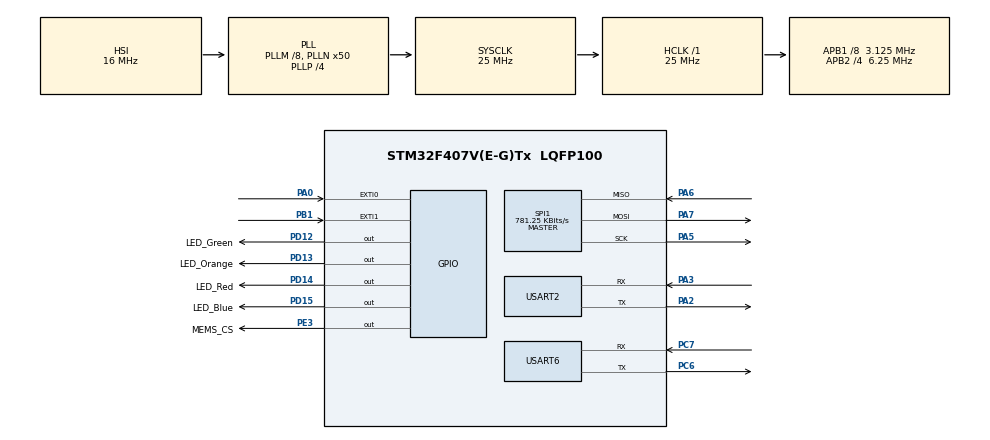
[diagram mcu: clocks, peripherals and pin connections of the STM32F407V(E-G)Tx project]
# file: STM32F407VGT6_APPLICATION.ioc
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FREERTOS.Mutexes01=uartMutex,Dynamic,NULL
FREERTOS.Queues01=accelDataQueue,4,uint16_t,0,Dynamic,NULL,NULL
FREERTOS.Tasks01=accelTask,24,240,AccelReadThread,Default,NULL,Dynamic,NULL,NULL;sendTask,24,240,TransmitUartThread,Default,NULL,Dynamic,NULL,NULL;updateTask,40,240,UpdateHandleThread,Default,NULL,Dynamic,NULL,NULL;checkUpdate,24,128,CheckUpdateThread,Default,NULL,Dynamic,NULL,NULL
Mcu.Family=STM32F4
Mcu.Name=STM32F407V(E-G)Tx
Mcu.Package=LQFP100
NVIC.EXTI0_IRQn=true\:5\:0\:false\:false\:true\:true\:true\:true
NVIC.EXTI1_IRQn=true\:5\:0\:false\:false\:true\:true\:true\:true
NVIC.PriorityGroup=NVIC_PRIORITYGROUP_4
NVIC.TIM5_IRQn=true\:0\:0\:false\:false\:true\:false\:false\:true
NVIC.TimeBase=TIM5_IRQn
NVIC.TimeBaseIP=TIM5
PA0-WKUP.Signal=GPXTI0
PA2.Mode=Asynchronous
PA2.Signal=USART2_TX
PA3.Mode=Asynchronous
PA3.Signal=USART2_RX
PA5.Mode=Full_Duplex_Master
PA5.Signal=SPI1_SCK
PA6.Mode=Full_Duplex_Master
PA6.Signal=SPI1_MISO
PA7.Mode=Full_Duplex_Master
PA7.Signal=SPI1_MOSI
PB1.GPIO_PuPd=GPIO_PULLDOWN
PB1.Signal=GPXTI1
PC6.Mode=Asynchronous
PC6.Signal=USART6_TX
PC7.Mode=Asynchronous
PC7.Signal=USART6_RX
PD12.GPIO_Label=LED_Green
PD12.Signal=GPIO_Output
PD13.GPIO_Label=LED_Orange
PD13.Signal=GPIO_Output
PD14.GPIO_Label=LED_Red
PD14.Signal=GPIO_Output
PD15.GPIO_Label=LED_Blue
PD15.Signal=GPIO_Output
PE3.GPIO_Label=MEMS_CS
PE3.GPIO_PuPd=GPIO_PULLUP
PE3.PinState=GPIO_PIN_SET
PE3.Signal=GPIO_Output
ProjectManager.HeapSize=0x200
ProjectManager.StackSize=0x400
ProjectManager.TargetToolchain=MDK-ARM V5
RCC.48MHZClocksFreq_Value=14285714.285714285
RCC.AHBFreq_Value=25000000
RCC.APB1CLKDivider=RCC_HCLK_DIV8
RCC.APB1Freq_Value=3125000
RCC.APB1TimFreq_Value=6250000
RCC.APB2CLKDivider=RCC_HCLK_DIV4
RCC.APB2Freq_Value=6250000
RCC.APB2TimFreq_Value=12500000
RCC.CortexFreq_Value=25000000
RCC.HCLKFreq_Value=25000000
RCC.HSE_VALUE=8000000
RCC.HSI_VALUE=16000000
RCC.LSE_VALUE=32768
RCC.PLLM=8
RCC.PLLN=50
RCC.PLLP=RCC_PLLP_DIV4
RCC.PLLQ=7
RCC.SYSCLKFreq_VALUE=25000000
RCC.SYSCLKSource=RCC_SYSCLKSOURCE_PLLCLK
RCC.VCOOutputFreq_Value=100000000
SPI1.BaudRatePrescaler=SPI_BAUDRATEPRESCALER_8
SPI1.CalculateBaudRate=781.25 KBits/s
SPI1.Direction=SPI_DIRECTION_2LINES
SPI1.Mode=SPI_MODE_MASTER
SPI1.VirtualType=VM_MASTER
USART2.VirtualMode=VM_ASYNC
USART6.VirtualMode=VM_ASYNC
VP_FREERTOS_VS_CMSIS_V2.Mode=CMSIS_V2
VP_SYS_VS_tim5.Mode=TIM5
board=STM32F407G-DISC1

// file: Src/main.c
/* USER CODE BEGIN Header */
/**
  ******************************************************************************
  * @file           : main.c
  * @brief          : Main program body
  ******************************************************************************
  * @attention
  *
  * <h2><center>&copy; Copyright (c) 2019 STMicroelectronics.
  * All rights reserved.</center></h2>
  *
  * This software component is licensed by ST under Ultimate Liberty license
  * SLA0044, the "License"; You may not use this file except in compliance with
  * the License. You may obtain a copy of the License at:
  *                             www.st.com/SLA0044
  *
  ******************************************************************************
  */
/* USER CODE END Header */

#include "main.h"
#include "cmsis_os.h"

/* USER CODE BEGIN Includes */
#include <string.h>
#include <stdlib.h>
#include <stdio.h>
#include <stdarg.h>
/* USER CODE END Includes */

/* USER CODE BEGIN PD */
#define BL_DEBEG_MSG_EN			// For Debugging
#define C_UART		&huart2
#define D_UART		&huart6
/* USER CODE END PD */

SPI_HandleTypeDef hspi1;

UART_HandleTypeDef huart2;
UART_HandleTypeDef huart6;

osThreadId_t accelTaskHandle;
osThreadId_t sendTaskHandle;
osThreadId_t updateTaskHandle;
//osThreadId_t checkUpdateHandle;
osMessageQueueId_t accelDataQueueHandle;
osMutexId_t uartMutexHandle;
/* USER CODE BEGIN PV */

#ifdef STM32F407VGT6
uint8_t spiTxBuf[2];		// SPI Transmit Buffer
uint8_t spiRxBuf[2];		// SPI Receive Buffer
uint8_t reg;						// register of Accelerometer
AccelDataTypeDef myAccelData;
AccelScaledDataTypeDef myAccelScaledData;
#endif

char uartTxBuf[32];
osEventFlagsId_t evt_id;
uint32_t flags;
osStatus_t status;

//----------------------------------------------------
SignatureTypeDef signature_sector;
uint8_t	rx_buffer[MAX_RX_BUFFER] = {0};
//----------------------------------------------------

/* USER CODE END PV */

void SystemClock_Config(void);
static void MX_GPIO_Init(void);
static void MX_SPI1_Init(void);
static void MX_USART2_UART_Init(void);
static void MX_USART6_UART_Init(void);
void AccelReadThread(void *argument);
void TransmitUartThread(void *argument);
void UpdateHandleThread(void *argument);
//void CheckUpdateThread(void *argument);

/* USER CODE BEGIN PFP */
static void print_debug_msg(char *format,...);
/* USER CODE END PFP */

int main(void)
{

  /* MCU Configuration--------------------------------------------------------*/

  /* Reset of all peripherals, Initializes the Flash interface and the Systick. */
  HAL_Init();

  /* Configure the system clock */
  SystemClock_Config();

  /* Initialize all configured peripherals */
  MX_GPIO_Init();
  MX_SPI1_Init();
  MX_USART2_UART_Init();
  MX_USART6_UART_Init();

  /* USER CODE BEGIN 2 */
	#ifdef STM32F407VGT6
	accel_init(&hspi1);	// initializing Accelerometer
	#endif
  /* USER CODE END 2 */

  osKernelInitialize();

  /* Create the mutex(es) */
  /* definition and creation of uartMutex */
  const osMutexAttr_t uartMutex_attributes = {
    .name = "uartMutex"
  };
  uartMutexHandle = osMutexNew(&uartMutex_attributes);

  /* Create the queue(s) */
  /* definition and creation of accelDataQueue */
  const osMessageQueueAttr_t accelDataQueue_attributes = {
    .name = "accelDataQueue"
  };
  accelDataQueueHandle = osMessageQueueNew (4, sizeof(MessageQueue_st), &accelDataQueue_attributes);

  /* Create the thread(s) */
  /* definition and creation of accelTask */
  const osThreadAttr_t accelTask_attributes = {
    .name = "accelTask",
    .priority = (osPriority_t) osPriorityNormal,
    .stack_size = 480
  };
  accelTaskHandle = osThreadNew(AccelReadThread, NULL, &accelTask_attributes);

  /* definition and creation of sendTask */
  const osThreadAttr_t sendTask_attributes = {
    .name = "sendTask",
    .priority = (osPriority_t) osPriorityNormal,
    .stack_size = 240
  };
  sendTaskHandle = osThreadNew(TransmitUartThread, NULL, &sendTask_attributes);

  /* definition and creation of updateTask */
  const osThreadAttr_t updateTask_attributes = {
    .name = "updateTask",
    .priority = (osPriority_t) osPriorityHigh,
    .stack_size = 480
  };
  updateTaskHandle = osThreadNew(UpdateHandleThread, NULL, &updateTask_attributes);

  /* definition and creation of checkUpdate */
 /* ------ Not Needed Now
	const osThreadAttr_t checkUpdate_attributes = {
    .name = "checkUpdate",
    .priority = (osPriority_t) osPriorityNormal,
    .stack_size = 128
  };
  checkUpdateHandle = osThreadNew(CheckUpdateThread, NULL, &checkUpdate_attributes);*/

  /* USER CODE BEGIN RTOS_THREADS */
  /* add threads, ... */

	//  creates a new event flags object that is used to
	//	send events across thread
	//	It can be safely called before the RTOS is started
	//	(call to osKernelStart), but not before it is initialized
	//	(call to osKernelInitialize).
	evt_id = osEventFlagsNew(NULL);
	  if (evt_id == NULL) {
    ; // Event Flags object not created, handle failure
    while(1);
  }
	osEventFlagsClear(evt_id, FLAGS_MSK);

  /* USER CODE END RTOS_THREADS */

  /* Start scheduler */
  osKernelStart();

  /* We should never get here as control is now taken by the scheduler */

  /* Infinite loop */
  while (1)
  {

  }
}

void SystemClock_Config(void)
{
  RCC_OscInitTypeDef RCC_OscInitStruct = {0};
  RCC_ClkInitTypeDef RCC_ClkInitStruct = {0};

  /** Configure the main internal regulator output voltage
  */
  __HAL_RCC_PWR_CLK_ENABLE();
  __HAL_PWR_VOLTAGESCALING_CONFIG(PWR_REGULATOR_VOLTAGE_SCALE1);
  /** Initializes the CPU, AHB and APB busses clocks
  */
  RCC_OscInitStruct.OscillatorType = RCC_OSCILLATORTYPE_HSI;
  RCC_OscInitStruct.HSIState = RCC_HSI_ON;
  RCC_OscInitStruct.HSICalibrationValue = RCC_HSICALIBRATION_DEFAULT;
  RCC_OscInitStruct.PLL.PLLState = RCC_PLL_ON;
  RCC_OscInitStruct.PLL.PLLSource = RCC_PLLSOURCE_HSI;
  RCC_OscInitStruct.PLL.PLLM = 8;
  RCC_OscInitStruct.PLL.PLLN = 50;
  RCC_OscInitStruct.PLL.PLLP = RCC_PLLP_DIV4;
  RCC_OscInitStruct.PLL.PLLQ = 7;
  if (HAL_RCC_OscConfig(&RCC_OscInitStruct) != HAL_OK)
  {
    Error_Handler();
  }
  /** Initializes the CPU, AHB and APB busses clocks
  */
  RCC_ClkInitStruct.ClockType = RCC_CLOCKTYPE_HCLK|RCC_CLOCKTYPE_SYSCLK
                              |RCC_CLOCKTYPE_PCLK1|RCC_CLOCKTYPE_PCLK2;
  RCC_ClkInitStruct.SYSCLKSource = RCC_SYSCLKSOURCE_PLLCLK;
  RCC_ClkInitStruct.AHBCLKDivider = RCC_SYSCLK_DIV1;
  RCC_ClkInitStruct.APB1CLKDivider = RCC_HCLK_DIV8;
  RCC_ClkInitStruct.APB2CLKDivider = RCC_HCLK_DIV4;

  if (HAL_RCC_ClockConfig(&RCC_ClkInitStruct, FLASH_LATENCY_0) != HAL_OK)
  {
    Error_Handler();
  }
}

static void MX_SPI1_Init(void)
{

  /* SPI1 parameter configuration*/
  hspi1.Instance = SPI1;
  hspi1.Init.Mode = SPI_MODE_MASTER;
  hspi1.Init.Direction = SPI_DIRECTION_2LINES;
  hspi1.Init.DataSize = SPI_DATASIZE_8BIT;
  hspi1.Init.CLKPolarity = SPI_POLARITY_LOW;
  hspi1.Init.CLKPhase = SPI_PHASE_1EDGE;
  hspi1.Init.NSS = SPI_NSS_SOFT;
  hspi1.Init.BaudRatePrescaler = SPI_BAUDRATEPRESCALER_8;
  hspi1.Init.FirstBit = SPI_FIRSTBIT_MSB;
  hspi1.Init.TIMode = SPI_TIMODE_DISABLE;
  hspi1.Init.CRCCalculation = SPI_CRCCALCULATION_DISABLE;
  hspi1.Init.CRCPolynomial = 10;
  if (HAL_SPI_Init(&hspi1) != HAL_OK)
  {
    Error_Handler();
  }

}

static void MX_USART2_UART_Init(void)
{

  huart2.Instance = USART2;
  huart2.Init.BaudRate = 115200;
  huart2.Init.WordLength = UART_WORDLENGTH_8B;
  huart2.Init.StopBits = UART_STOPBITS_1;
  huart2.Init.Parity = UART_PARITY_NONE;
  huart2.Init.Mode = UART_MODE_TX_RX;
  huart2.Init.HwFlowCtl = UART_HWCONTROL_NONE;
  huart2.Init.OverSampling = UART_OVERSAMPLING_16;
  if (HAL_UART_Init(&huart2) != HAL_OK)
  {
    Error_Handler();
  }

}

static void MX_USART6_UART_Init(void)
{

  huart6.Instance = USART6;
  huart6.Init.BaudRate = 115200;
  huart6.Init.WordLength = UART_WORDLENGTH_8B;
  huart6.Init.StopBits = UART_STOPBITS_1;
  huart6.Init.Parity = UART_PARITY_NONE;
  huart6.Init.Mode = UART_MODE_TX_RX;
  huart6.Init.HwFlowCtl = UART_HWCONTROL_NONE;
  huart6.Init.OverSampling = UART_OVERSAMPLING_16;
  if (HAL_UART_Init(&huart6) != HAL_OK)
  {
    Error_Handler();
  }

}

static void MX_GPIO_Init(void)
{
  GPIO_InitTypeDef GPIO_InitStruct = {0};

  /* GPIO Ports Clock Enable */
  __HAL_RCC_GPIOE_CLK_ENABLE();
  __HAL_RCC_GPIOA_CLK_ENABLE();
  __HAL_RCC_GPIOB_CLK_ENABLE();
  __HAL_RCC_GPIOD_CLK_ENABLE();
  __HAL_RCC_GPIOC_CLK_ENABLE();

  /*Configure GPIO pin Output Level */
  HAL_GPIO_WritePin(MEMS_CS_GPIO_Port, MEMS_CS_Pin, GPIO_PIN_SET);

  /*Configure GPIO pin Output Level */
  HAL_GPIO_WritePin(GPIOD, LED_Green_Pin|LED_Orange_Pin|LED_Red_Pin|LED_Blue_Pin, GPIO_PIN_RESET);

  /*Configure GPIO pin : MEMS_CS_Pin */
  GPIO_InitStruct.Pin = MEMS_CS_Pin;
  GPIO_InitStruct.Mode = GPIO_MODE_OUTPUT_PP;
  GPIO_InitStruct.Pull = GPIO_PULLUP;
  GPIO_InitStruct.Speed = GPIO_SPEED_FREQ_LOW;
  HAL_GPIO_Init(MEMS_CS_GPIO_Port, &GPIO_InitStruct);

  /*Configure GPIO pin : PA0 */
  GPIO_InitStruct.Pin = GPIO_PIN_0;
  GPIO_InitStruct.Mode = GPIO_MODE_IT_RISING;
  GPIO_InitStruct.Pull = GPIO_NOPULL;
  HAL_GPIO_Init(GPIOA, &GPIO_InitStruct);

  /*Configure GPIO pin : PB1 */
  GPIO_InitStruct.Pin = GPIO_PIN_1;
  GPIO_InitStruct.Mode = GPIO_MODE_IT_RISING;
  GPIO_InitStruct.Pull = GPIO_PULLDOWN;
  HAL_GPIO_Init(GPIOB, &GPIO_InitStruct);

  /*Configure GPIO pins : LED_Green_Pin LED_Orange_Pin LED_Red_Pin LED_Blue_Pin */
  GPIO_InitStruct.Pin = LED_Green_Pin|LED_Orange_Pin|LED_Red_Pin|LED_Blue_Pin;
  GPIO_InitStruct.Mode = GPIO_MODE_OUTPUT_PP;
  GPIO_InitStruct.Pull = GPIO_NOPULL;
  GPIO_InitStruct.Speed = GPIO_SPEED_FREQ_LOW;
  HAL_GPIO_Init(GPIOD, &GPIO_InitStruct);

  /* EXTI interrupt init*/
  HAL_NVIC_SetPriority(EXTI0_IRQn, 5, 0);
  HAL_NVIC_EnableIRQ(EXTI0_IRQn);

  HAL_NVIC_SetPriority(EXTI1_IRQn, 5, 0);
  HAL_NVIC_EnableIRQ(EXTI1_IRQn);

}

/* USER CODE BEGIN 4 */

static void print_debug_msg(char *format,...)
{
	#ifdef BL_DEBEG_MSG_EN
	char str[80];

	va_list args;
	va_start(args, format);
	vsprintf(str, format, args);
	HAL_UART_Transmit(D_UART,(uint8_t *)str, strlen(str),HAL_MAX_DELAY);
	va_end(args);
	#endif
}

static void FLASH_EraseSector(void)
{
	HAL_FLASH_Unlock();
	FLASH_Erase_Sector(SIGNATURE_SECTOR_NO, FLASH_VOLTAGE_RANGE_3);
	HAL_FLASH_Lock();
}

void write_to_flash_word(uint32_t offSet, void *wrBuf, uint32_t Nsize)
{
	uint32_t flash_address = SIGNATURE_FLASH_ADDRESS + offSet;

	//Erase sector before write
	FLASH_EraseSector();				// This will increasing the latency by substancial amount

	//Unlock Flash
	HAL_FLASH_Unlock();
	//HAL_FLASH_Program(FLASH_TYPEPROGRAM_WORD, flashAddress + 8, 0xFFFFFFFF);
	//Write to Flash
	for(uint32_t i=0; i<Nsize; i++)
	{
		//flag = ((uint32_t *)wrBuf)[i];
		HAL_FLASH_Program(FLASH_TYPEPROGRAM_WORD, flash_address , ((uint32_t *)wrBuf)[i]);
		//HAL_Delay(2000);
		flash_address+=4;
	}

	//Lock the Flash space
	HAL_FLASH_Lock();
}

#ifdef STM32F407VGT6
// Accelerometer Initializtion function
void accel_init(SPI_HandleTypeDef *hspi)
{
	/*	Default Full Scale = 2g
	 *	For this Default Full Scale value, Sensitivity = 0.06 mg/digit
	 *	If the device is perfectly level and not moving, then:
					----> X/Y accel axes should read 0
					---->	Z accel axis should read 1g,
								which is +16384 at a sensitivity of 2g
	*/

	reg = 0x20;									// CTRL_REG4
	spiTxBuf[0]	=	0x17;					/*Enabling X, Y and z axis
																Setting Data Rate to 3.125 Hz */
	writeIO(reg,spiTxBuf, 1);

	reg = 0x25;									//CTRL_REG6
	spiTxBuf[0]	=	0x10;					//AUTO INC
	writeIO(reg,spiTxBuf, 1);
}

// Reading Accelerometer RAW values
AccelDataTypeDef accel_data_read(void)
{
	AccelDataTypeDef tempData;

	//Reading X value
	readIO(OUT_X_ADDR, spiRxBuf, 2);
	tempData.xVal = ((spiRxBuf[1] << 8) + spiRxBuf[0]);

	//Reading Y value
	readIO(OUT_Y_ADDR, spiRxBuf, 2);
	tempData.yVal = ((spiRxBuf[1] << 8) + spiRxBuf[0]);

	//Reading Z value
	readIO(OUT_Z_ADDR, spiRxBuf, 2);
	tempData.zVal = ((spiRxBuf[1] << 8) + spiRxBuf[0]);

	return tempData;
}

// Reading X,Y,Z in scaled format
AccelScaledDataTypeDef get_scaled_data(void)
{
	AccelDataTypeDef tempRawData =  accel_data_read();
	AccelScaledDataTypeDef tempScaledData;

	tempScaledData.xVal = (tempRawData.xVal * SENSITIVITY) + 0.0f;
	tempScaledData.yVal = (tempRawData.yVal * SENSITIVITY) + 0.0f;
	tempScaledData.zVal = (tempRawData.zVal * SENSITIVITY) + 0.0f;

	return tempScaledData;
}

void writeIO(uint8_t reg, uint8_t *dataW, uint8_t size)
{
	/* 	For TRANSMITTING DATA via SPI following
			3 Steps must be followed:
	1. Bringing Slave Select line low
	2. Tranmitting Register + data
	3. Bringing Slave Select to high
	*/

	//Enable CS
	_CS_ENABLE;
	//set register value
	HAL_SPI_Transmit(&hspi1, &reg, 1, 10);
	//Transmit data
	HAL_SPI_Transmit(&hspi1, dataW, size, 10);
	_CS_DISABLE;
}

void	readIO(uint8_t reg, uint8_t *dataR, uint8_t size)
{
	/* 	For RECEIVING DATA from the Accelerometer
			following 4 steps must be followed:
	1. Bringing Slave Select line low
	2. Tranmitting Register +0x80
	3. Receiving Data
	4. Bringing Slave Select to high
	*/

	uint8_t temp = reg|0x80;	/*0x80 makes MSB 1 denoting that Master needs
															to read data from the slave (Accelerometer)*/
	//Enable CS
	_CS_ENABLE;
	//set register value
	HAL_SPI_Transmit(&hspi1, &temp, 1, 10);
	//Transmit data
	HAL_SPI_Receive(&hspi1, dataR, size, 10);
	//Disable CS
	_CS_DISABLE;
}
#endif /* STM32F407VGT6 */

//Defining callback for the external interrupt
 void HAL_GPIO_EXTI_Callback(uint16_t GPIO_Pin)
{
  /* Prevent unused argument(s) compilation warning */
  UNUSED(GPIO_Pin);
  /* NOTE: This function Should not be modified, when the callback is needed,
           the HAL_GPIO_EXTI_Callback could be implemented in the user file
   */
	/*------------Not Needed Now ------------
	if(GPIO_Pin == GPIO_PIN_0)
	{
	------------------------------------------*/
		// Switch Pressed
	signature_sector = *(SignatureTypeDef *)(uint32_t *)SIGNATURE_FLASH_ADDRESS;	// Reading Boot status structure from flash
	if(signature_sector.updateAvailable == TRUE)
	{
			// STM is ready for the update. JUMP TO BOOTLOADER
			// ESP can download the update and wait for the '$' sign from STM side
			osEventFlagsSet(evt_id, 0x00000002U);
			// for(uint32_t i=0; i<10000;i++);						// DEBOUNCING DELAY
	}
	else
	{
		// Check for update
		osEventFlagsSet(evt_id, 0x00000001U);
	}

		/*------------Not Needed Now ------------
	}
			------------------------------------------*/

	/*------------Not Needed Now ------------
	if(GPIO_Pin == GPIO_PIN_1)
	{
		// Update is available
		//bootSectorStatus = *(BootSectorTypeDef *)(uint32_t *)SECTOR_ADDRESS; 	// Reading Boot status structure from flash
		//bootSectorStatus.updateAvailable = TRUE;									// Setting Flag of update available
		//write_to_flash(0, &bootSectorStatus,3);										// Writing the updated structure to flash
		osEventFlagsSet(evt_id, 0x00000001U);
		//bootSectorStatus.updateAvailable = FALSE;	// For TESTING
	}
	------------------------------------------*/
}

OTAUpdateRequestTypeDef* parsing_update_request(OTAUpdateRequestTypeDef *handle, char *data)
{
	char* token = strtok(data, "$");
	strcpy(handle->board, token);

	token = strtok(NULL, "$");
	handle->version = (uint32_t)strtol(token, NULL, 10);

	token = strtok(NULL, "$");
	strcpy(handle->secure_id, token);

	token = strtok(NULL, "$");
	handle->sector_no = (uint32_t)strtol(token, NULL, 10);

	token = strtok(NULL, "$");
	handle->sector_addr = (uint32_t)strtol(token, NULL, 16);

	return handle;
}

char *strrev(char *str)
{
	char c, *front, *back;
	if(!str || !*str)
			return str;
	for(front=str,back=str+strlen(str)-1;front < back;front++,back--){
			c=*front;*front=*back;*back=c;
	}
	return str;
}

/* USER CODE END 4 */

void AccelReadThread(void *argument)
{

  /* USER CODE BEGIN 5 */
	float x,y,z;
	MessageQueue_st msg;
	osStatus_t status;
  /* Infinite loop */
  for(;;)
  {
		#ifdef STM32F407VGT6
		//myAccelData = accel_data_read();
		myAccelScaledData = get_scaled_data();
		x = myAccelScaledData.xVal;
		y = myAccelScaledData.yVal;
		z = myAccelScaledData.zVal;
		sprintf(uartTxBuf,"%04.3f,%04.3f,%04.3f$",x,y,z);	// Appended Accelerometer Data with '$'
		#else
		sprintf(uartTxBuf,"Hello From STM32F411",);
		#endif
		strcpy(msg.data,uartTxBuf);//Copy msg to the buffer

		//p1: handle to message queue
		//p2: address to the message structure
		//p3: Priority is NULL
		//p4: No wait returns instantly
		/*
			case 1: p4 as osWaitForever
							Queue was blocked untill msg delivered
			case 2: p4 as no wait still it's working
			*/
		status = osMessageQueuePut(accelDataQueueHandle, &msg, NULL,0);
		if(status != osOK)
		{
			//Error Handling
			HAL_GPIO_WritePin(GPIOD, LED_Red_Pin, GPIO_PIN_SET);
		}
		//HAL_UART_Transmit(&huart2, (uint8_t *)uartTxBuf,strlen(uartTxBuf),50);
    osDelay(500);
  }
  /* USER CODE END 5 */
}

void TransmitUartThread(void *argument)
{
  /* USER CODE BEGIN TransmitUartThread */
	MessageQueue_st recMsg;

  /* Infinite loop */
  for(;;)
  {
		//p1: handle to message queue
		//p2: address to the message structure
		//p3: Priority is NULL
		//p4: No wait returns instantly or osWaitForever
		//		In both the cases it working
		status = osMessageQueueGet(accelDataQueueHandle, &recMsg, NULL, HAL_MAX_DELAY);
		if(status == osOK)
		{
			//Success

			//---- APPLY MUTEX HERE(ACQUIRE)
			if (uartMutexHandle != NULL) {
				status = osMutexAcquire(uartMutexHandle, osWaitForever);
				if (status != osOK)  {
					// handle failure code
					HAL_GPIO_WritePin(GPIOD, LED_Red_Pin, GPIO_PIN_SET);
				}
				else
				{
					//----------------------- CRITICAL SECTION ----------------------------------------
					HAL_UART_Transmit(C_UART,(uint8_t *)recMsg.data,strlen(recMsg.data), HAL_MAX_DELAY);
					//-----------------------------------------------------------------------------------
				}
				//---- APPLY MUTEX HERE(RELEASE)
				status = osMutexRelease(uartMutexHandle);
				if (status != osOK)  {
					// handle failure code
					HAL_GPIO_WritePin(GPIOD, LED_Red_Pin, GPIO_PIN_SET);
				}
			}
			memset(recMsg.data,0,32);
		}
		else
		{
			HAL_GPIO_WritePin(GPIOD, LED_Red_Pin, GPIO_PIN_SET);
		}
    osDelay(1);
  }
  /* USER CODE END TransmitUartThread */
}

void UpdateHandleThread(void *argument)
{
  /* USER CODE BEGIN UpdateHandleThread */
  /* Infinite loop */
  for(;;)
  {
		// Create a buffer for receive on uart
		OTAUpdateRequestTypeDef update_request;
		uint8_t updateFlag = 0;
		flags = 0;
		memset(uartTxBuf, 0, 32);
		strcpy(uartTxBuf,CHECKUPDATE);
		flags = osEventFlagsWait(evt_id, FLAGS_MSK, osFlagsWaitAny, osWaitForever);
		if(flags != osFlagsErrorResource && flags != osFlagsErrorParameter)
		{
			if((flags&0x00000001) == 0x00000001)
			{
				// Check For Update

				//Prepare the buffer for receiving update information
				//memset(rx_buffer, 0, MAX_RX_BUFFER);

				// We should not use mutex here (In my Opinion)
				//---- APPLY MUTEX HERE(ACQUIRE)
				if (uartMutexHandle != NULL) {
					status = osMutexAcquire(uartMutexHandle, osWaitForever);
					if (status != osOK)  {
						// handle failure code
						HAL_GPIO_WritePin(GPIOD, LED_Red_Pin, GPIO_PIN_SET);
					}
					else
					{
						//----------------------- CRITICAL SECTION ----------------------------
						HAL_UART_Transmit(C_UART, (uint8_t *)uartTxBuf, 32, HAL_MAX_DELAY);

						// Waiting for Response (ACK - Authentication frame or NACK)
						HAL_UART_Receive(C_UART, rx_buffer, MAX_RX_BUFFER, HAL_MAX_DELAY);
						//---------------------------------------------------------------------
					}
					//---- APPLY MUTEX HERE(RELEASE)
					status = osMutexRelease(uartMutexHandle);
					if (status != osOK)  {
						// handle failure code
						HAL_GPIO_WritePin(GPIOD, LED_Red_Pin, GPIO_PIN_SET);
					}
				}

				/* Check for Authentication of update
				// If it is Authentic, update the Signature Structure with updateFlag = TRUE
				// Also, turn ON Green LED to notify user about the update and also send ACK
				// to the ESP32 which is nothing but the but just the SecureID in Reverse order*/
				parsing_update_request(&update_request, (char *)rx_buffer);

				if((strcmp(BOARD_NAME, update_request.board) == 0)
					&& (strcmp(SECURE_ID, update_request.secure_id) == 0)
					/*&& (strcmp(signature_sector.version,update_request.version) == 0)*/)
				{
					updateFlag = 1;
				}
				else
				{
					updateFlag = 0;
				}

				if(updateFlag == 1)
				{
					//AUTH Success
					//signature_sector.current = signature_sector.starting_address;
					signature_sector.sector_no = update_request.sector_no;
					signature_sector.sector_addr = update_request.sector_addr;
					signature_sector.version = update_request.version;
					signature_sector.updateAvailable = TRUE;				// Setting Flag of update available

					write_to_flash_word(0, &signature_sector, 5);		// Writing the updated structure to flash

					//Response (ACK) to the ESP
					//temp = *(SignatureTypeDef *)(uint32_t *)SIGNATURE_FLASH_ADDRESS;
					strrev(update_request.secure_id);								//Reverse of secure id

					//---- APPLY MUTEX HERE(ACQUIRE)
					if (uartMutexHandle != NULL) {
						status = osMutexAcquire(uartMutexHandle, osWaitForever);
						if (status != osOK)  {
							// handle failure code
							HAL_GPIO_WritePin(GPIOD, LED_Red_Pin, GPIO_PIN_SET);
						}
						else
						{
							//------------------------------------- CRITICAL SECTION ---------------------------------------------------
							HAL_UART_Transmit(C_UART,(uint8_t *)update_request.secure_id, strlen(update_request.secure_id),HAL_MAX_DELAY);
							HAL_UART_Transmit(C_UART, &response, 1, HAL_MAX_DELAY);
							//------------------------------------------------------------------------------------------------------------
						}
						//---- APPLY MUTEX HERE(RELEASE)
						status = osMutexRelease(uartMutexHandle);
						if (status != osOK)  {
							// handle failure code
							HAL_GPIO_WritePin(GPIOD, LED_Red_Pin, GPIO_PIN_SET);
						}
					}

					HAL_GPIO_WritePin(GPIOD, LED_Green_Pin, GPIO_PIN_SET);				// Making Green LED ON as a status of available update
					return;
				}
				else
				{
					//Failed AUTH
					//Return same secure id which was received (NACK)
					//---- APPLY MUTEX HERE(RELEASE)
					if (uartMutexHandle != NULL) {
						status = osMutexAcquire(uartMutexHandle, osWaitForever);
						if (status != osOK)  {
							// handle failure code
							HAL_GPIO_WritePin(GPIOD, LED_Red_Pin, GPIO_PIN_SET);
						}
						else
						{
							//------------------------------------- CRITICAL SECTION ---------------------------------------------------
							HAL_UART_Transmit(C_UART,(uint8_t *)update_request.secure_id, strlen(update_request.secure_id),HAL_MAX_DELAY);
							HAL_UART_Transmit(C_UART, &response, 1, HAL_MAX_DELAY);
							//------------------------------------------------------------------------------------------------------------
						}
						//---- APPLY MUTEX HERE(RELEASE)
						status = osMutexRelease(uartMutexHandle);
						if (status != osOK)  {
							// handle failure code
							HAL_GPIO_WritePin(GPIOD, LED_Red_Pin, GPIO_PIN_SET);
						}
					}
				}
			}
			else if((flags&0x00000002) == 0x00000002)
			{
				// STM is ready for the update
				// ESP can download the updated firmware
				HAL_GPIO_WritePin(GPIOD, LED_Blue_Pin, GPIO_PIN_SET);
				//JUMP TO BOOTLOADER
				print_debug_msg("Bootloader JUMP\r\n");

				// Reset MCU
				NVIC_SystemReset();
			}
		}
		osDelay(1);
	}
  /* USER CODE END UpdateHandleThread */
}

/*----------------------------------------*/
/* USER CODE BEGIN Header_CheckUpdateThread */

/* --------- Not Needed Now --------------
USER CODE END Header_CheckUpdateThread *
void CheckUpdateThread(void *argument)
{
  * USER CODE BEGIN CheckUpdateThread *
  * Infinite loop *
  for(;;)
  {
		//---- APPLY MUTEX HERE(ACQUIRE)
		if (uartMutexHandle != NULL) {
			status = osMutexAcquire(uartMutexHandle, osWaitForever);
			if (status != osOK)  {
				// handle failure code
				HAL_GPIO_WritePin(GPIOD, LED_Red_Pin, GPIO_PIN_SET);
			}
			else
			{
				//------------------------------------- CRITICAL SECTION -------------------------
				HAL_UART_Transmit(C_UART,(uint8_t *)"CHECK", strlen("CHECK"),HAL_MAX_DELAY);
				HAL_UART_Transmit(C_UART, &response, 1, HAL_MAX_DELAY);
				//-------------------------------------------------------------------------------
			}
			//---- APPLY MUTEX HERE(RELEASE)
			status = osMutexRelease(uartMutexHandle);
			if (status != osOK)  {
				// handle failure code
				HAL_GPIO_WritePin(GPIOD, LED_Red_Pin, GPIO_PIN_SET);
			}
		}

    osDelay(2*MINUTE);
  }
  * USER CODE END CheckUpdateThread *
}*/

void HAL_TIM_PeriodElapsedCallback(TIM_HandleTypeDef *htim)
{
  if (htim->Instance == TIM5) {
    HAL_IncTick();
  }
}

void Error_Handler(void)
{
}

/************************ (C) COPYRIGHT STMicroelectronics *****END OF FILE****/
